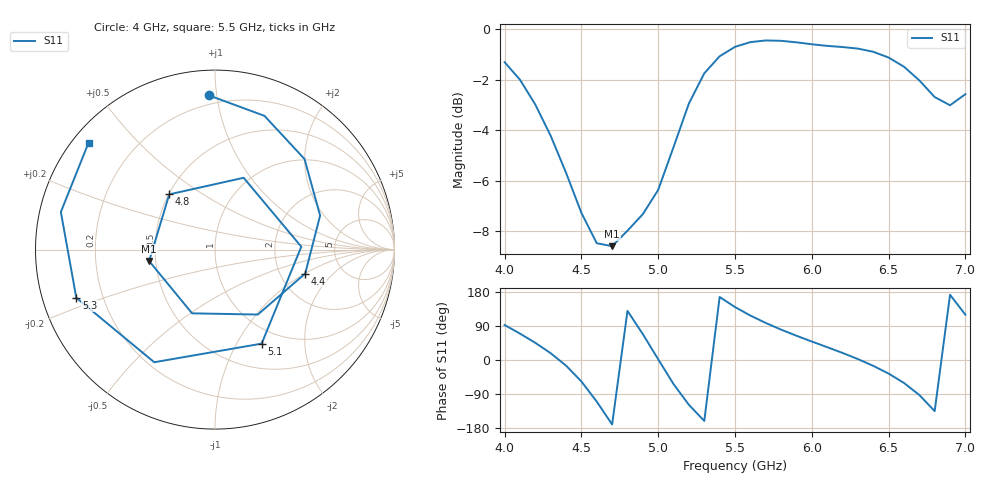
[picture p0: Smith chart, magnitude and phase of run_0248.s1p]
! Touchstone file exported from HFSS 2024.2.0
!  File:  C:/Users/wsak9/Desktop/Sim Fast/Widenad Patch/WP_AI_V1_sweep.aedt
!  Generated:  01:25:03 AM Oct 14, 2026
!  Design:  A1_model
!  Project:  WP_AI_V1_sweep
!  Setup:  Setup1
!  Solution:  Sweep
! Variables:
!  Air_gap = 4.75mm
!  Curve_Amp1 = 2.88
!  Curve_len1 = 1
!  Curve_pos = 12.445mm
!  Extra = 1.17mm
!  H_sub = 0.79mm
!  L_Patch = 20.89mm
!  L_Patch1 = 16.53mm
!  Sx = 4.64mm
!  Sy = 0.39mm
!  WS = 1.18mm
!  W_Patch = 17.75mm
!  W_Patch1 = 15.36mm
!Data is not renormalized
# GHz S MA
! Terminal data exported
! Port[1] = 1
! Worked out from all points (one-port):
!   31 points, 4 GHz to 7 GHz, reference per port
!   lowest |S11| = -8.6 dB at 4.7 GHz (marker M1), VSWR 2.19
!   |S11| at or under -10 dB: nowhere
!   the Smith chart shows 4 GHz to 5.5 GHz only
!   S11 on the Smith chart (normalised r, x): 4 GHz: 0.14, +0.95; 4.4 GHz: 2.75, -1.01; 4.8 GHz: 0.50, +0.37; 5.1 GHz: 0.80, -1.27; 5.3 GHz: 0.10, -0.17; 5.5 GHz: 0.05, +0.37
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4  0.8605 92.3
4.1  0.7945 69.7
4.2  0.7095 45.3
4.3  0.6156 17.9
4.4  0.5201 -14.9
4.5  0.4333 -56.6
4.6  0.3774 -109.8
4.7  0.3723 -170.1
4.8  0.3995 129.6
4.9  0.4308 68.2
5  0.4811 1.9
5.1  0.5848 -63.6
5.2  0.7131 -118.3
5.3  0.818 -160.8
5.4  0.884 166.3
5.5  0.9228 139.7
5.6  0.9428 117.3
5.7  0.95 97.8
5.9  0.942 64.0
6.1  0.9269 33.9
6.3  0.9155 2.5
6.4  0.9023 -15.4
6.5  0.879 -35.8
6.6  0.843 -60.5
6.7  0.7922 -92.3
6.8  0.7342 -134.8
6.9  0.7072 172.1
7  0.7439 119.5
